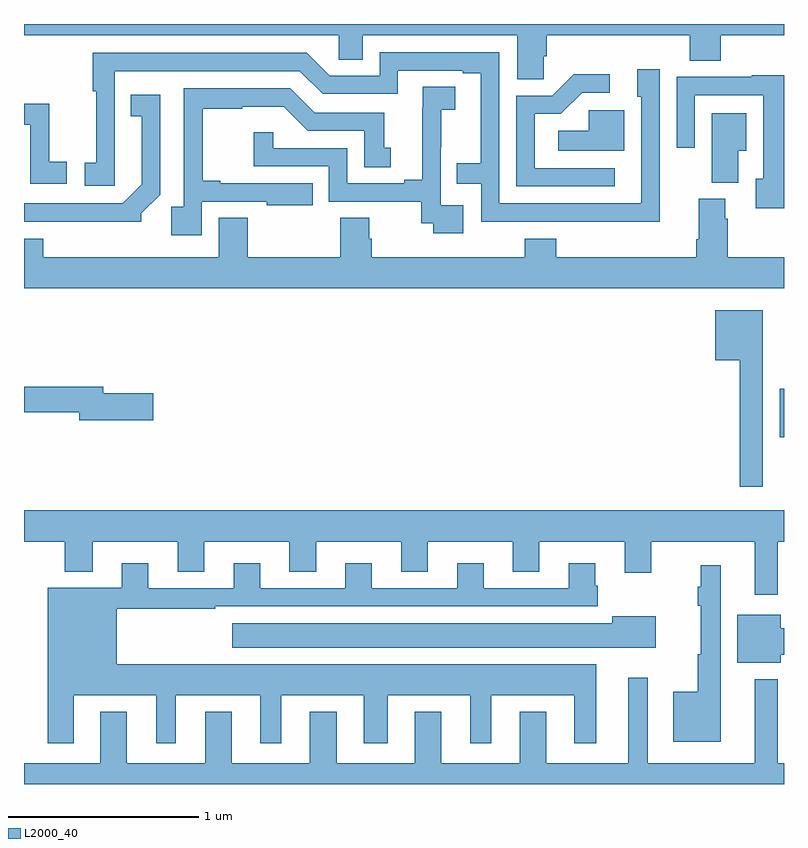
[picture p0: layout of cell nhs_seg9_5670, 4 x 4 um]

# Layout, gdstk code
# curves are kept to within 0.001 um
import gdstk
lib = gdstk.Library(unit=1e-6, precision=1e-09)
def R(c, l, rs):  # rectangles x0, y0, x1, y1
    for r in rs: c.add(gdstk.rectangle(r[:2], r[2:], *l))
def P(c, l, *ps):  # polygons
    for p in ps: c.add(gdstk.Polygon(p, *l))
L2000_40 = (2000, 40)

nhs_seg9_5670 = lib.new_cell('nhs_seg9_5670')
R(nhs_seg9_5670, L2000_40, [(444.977,1174.325,445,1174.579)])
P(nhs_seg9_5670, L2000_40, [(441,1176.44),(442.656,1176.44),(442.656,1176.313),(442.783,1176.313),(442.783,1176.44),(443.597,1176.44),(443.597,1176.208),(443.736,1176.208),(443.736,1176.331),(443.75,1176.331),(443.75,1176.44),(444.503,1176.44),(444.503,1176.307),(444.668,1176.307),(444.668,1176.44),(445,1176.44),(445,1176.5),(441,1176.5)],
  [(444.347,1175.762),(444.345,1175.762),(444.345,1176.262),(444.227,1176.262),(444.227,1176.117),(444.249,1176.117),(444.249,1175.556),(443.502,1175.556),(443.502,1176.351),(442.872,1176.351),(442.872,1176.228),(442.608,1176.228),(442.488,1176.348),(441.361,1176.348),(441.361,1176.145),(441.379,1176.145),(441.379,1175.769),(441.321,1175.769),(441.321,1175.649),(441.478,1175.649),(441.477,1176.252),(442.452,1176.252),(442.572,1176.132),(442.968,1176.132),(442.968,1176.255),(443.309,1176.255),(443.309,1176.24),(443.405,1176.24),(443.405,1175.767),(443.278,1175.767),(443.278,1175.658),(443.406,1175.658),(443.406,1175.46),(444.347,1175.459)],
  [(444.109,1175.742),(443.688,1175.742),(443.688,1176.027),(443.826,1176.027),(443.937,1176.138),(444.082,1176.138),(444.082,1176.236),(443.894,1176.236),(443.781,1176.123),(443.592,1176.123),(443.592,1175.646),(444.109,1175.646)],
  [(445,1176.229),(444.831,1176.229),(444.831,1176.222),(444.435,1176.222),(444.435,1175.85),(444.531,1175.85),(444.531,1176.126),(444.891,1176.126),(444.891,1175.685),(444.851,1175.685),(444.851,1175.529),(445,1175.529)],
  [(443.311,1175.547),(443.193,1175.547),(443.193,1175.851),(443.195,1175.851),(443.195,1176.049),(443.269,1176.049),(443.269,1176.17),(443.098,1176.17),(443.098,1176.059),(443.096,1176.059),(443.096,1175.681),(443,1175.681),(443,1175.661),(442.701,1175.661),(442.701,1175.847),(442.311,1175.847),(442.311,1175.929),(442.21,1175.929),(442.21,1175.751),(442.605,1175.751),(442.605,1175.565),(443.092,1175.565),(443.092,1175.451),(443.155,1175.451),(443.155,1175.4),(443.311,1175.4)],
  [(441.936,1175.565),(442.277,1175.565),(442.277,1175.546),(442.52,1175.546),(442.52,1175.661),(442.033,1175.661),(442.033,1175.674),(441.941,1175.674),(441.941,1176.054),(442.148,1176.054),(442.148,1176.065),(442.366,1176.065),(442.494,1175.937),(442.79,1175.937),(442.79,1175.746),(442.93,1175.746),(442.93,1175.85),(442.897,1175.85),(442.897,1176.033),(442.53,1176.033),(442.401,1176.162),(441.84,1176.162),(441.84,1175.539),(441.775,1175.539),(441.775,1175.388),(441.936,1175.388)],
  [(441.618,1175.503),(441.717,1175.602),(441.717,1176.127),(441.562,1176.127),(441.562,1176.014),(441.62,1176.014),(441.62,1175.657),(441.519,1175.556),(441,1175.556),(441,1175.46),(441.618,1175.459)],
  [(441.226,1175.774),(441.132,1175.774),(441.132,1176.079),(441,1176.079),(441,1175.97),(441.033,1175.97),(441.033,1175.658),(441.226,1175.658)],
  [(444.16,1176.045),(443.973,1176.045),(443.973,1175.938),(443.811,1175.938),(443.811,1175.834),(444.16,1175.834)],
  [(444.76,1175.834),(444.802,1175.834),(444.802,1176.031),(444.62,1176.031),(444.62,1175.665),(444.76,1175.665)],
  [(445,1175.272),(444.704,1175.272),(444.704,1175.474),(444.691,1175.474),(444.691,1175.58),(444.551,1175.58),(444.551,1175.368),(444.539,1175.368),(444.539,1175.272),(443.801,1175.272),(443.801,1175.371),(443.636,1175.371),(443.636,1175.272),(442.829,1175.272),(442.829,1175.37),(442.816,1175.37),(442.816,1175.48),(442.664,1175.48),(442.664,1175.272),(442.178,1175.272),(442.178,1175.48),(442.025,1175.48),(442.025,1175.272),(441.101,1175.272),(441.101,1175.371),(441,1175.371),(441,1175.108),(445,1175.108)],
  [(444.889,1174.993),(444.638,1174.993),(444.638,1174.73),(444.768,1174.73),(444.768,1174.065),(444.889,1174.065)],
  [(441.679,1174.556),(441.418,1174.556),(441.418,1174.592),(441,1174.592),(441,1174.456),(441.29,1174.456),(441.29,1174.414),(441.679,1174.414)],
  [(444.967,1173.776),(445,1173.776),(445,1173.94),(441,1173.94),(441,1173.776),(441.214,1173.776),(441.214,1173.617),(441.361,1173.617),(441.361,1173.776),(441.809,1173.776),(441.809,1173.616),(441.949,1173.616),(441.949,1173.776),(442.397,1173.776),(442.397,1173.616),(442.537,1173.616),(442.537,1173.776),(442.985,1173.776),(442.985,1173.616),(443.125,1173.616),(443.125,1173.776),(443.573,1173.776),(443.573,1173.616),(443.713,1173.616),(443.713,1173.776),(444.161,1173.776),(444.161,1173.612),(444.301,1173.612),(444.301,1173.776),(444.845,1173.776),(444.845,1173.495),(444.967,1173.495)],
  [(441.262,1172.966),(441.695,1172.966),(441.695,1172.715),(441.799,1172.715),(441.799,1172.966),(442.244,1172.966),(442.244,1172.715),(442.354,1172.715),(442.354,1172.966),(442.787,1172.966),(442.787,1172.715),(442.915,1172.715),(442.915,1172.966),(443.348,1172.966),(443.348,1172.715),(443.458,1172.715),(443.458,1172.966),(443.897,1172.966),(443.897,1172.715),(444.013,1172.715),(444.013,1173.13),(441.487,1173.13),(441.487,1173.423),(442.007,1173.423),(442.007,1173.435),(444.02,1173.435),(444.02,1173.543),(444.007,1173.543),(444.007,1173.661),(443.867,1173.661),(443.867,1173.531),(443.419,1173.531),(443.419,1173.661),(443.279,1173.661),(443.279,1173.531),(442.831,1173.531),(442.831,1173.661),(442.691,1173.661),(442.691,1173.531),(442.243,1173.531),(442.243,1173.661),(442.103,1173.661),(442.103,1173.531),(441.655,1173.531),(441.655,1173.661),(441.515,1173.661),(441.515,1173.532),(441.125,1173.532),(441.125,1172.715),(441.262,1172.715)],
  [(444.667,1173.652),(444.561,1173.652),(444.561,1173.539),(444.546,1173.539),(444.546,1173.439),(444.563,1173.439),(444.563,1173.182),(444.546,1173.182),(444.546,1172.986),(444.416,1172.986),(444.416,1172.723),(444.667,1172.723)],
  [(444.982,1173.179),(445,1173.179),(445,1173.321),(444.982,1173.321),(444.982,1173.391),(444.755,1173.391),(444.755,1173.137),(444.982,1173.137)],
  [(444.325,1173.382),(444.095,1173.382),(444.095,1173.346),(442.095,1173.346),(442.095,1173.218),(444.325,1173.218)],
  [(445,1172.608),(444.967,1172.608),(444.967,1173.052),(444.845,1173.052),(444.845,1172.608),(444.283,1172.608),(444.283,1173.058),(444.179,1173.058),(444.179,1172.608),(443.749,1172.608),(443.749,1172.881),(443.609,1172.881),(443.609,1172.608),(443.197,1172.608),(443.197,1172.881),(443.057,1172.881),(443.057,1172.608),(442.645,1172.608),(442.645,1172.881),(442.505,1172.881),(442.505,1172.608),(442.093,1172.608),(442.093,1172.881),(441.953,1172.881),(441.953,1172.608),(441.541,1172.608),(441.541,1172.881),(441.401,1172.881),(441.401,1172.608),(441,1172.608),(441,1172.5),(445,1172.5)])

lib.write_gds('nhs_seg9_5670.gds')
